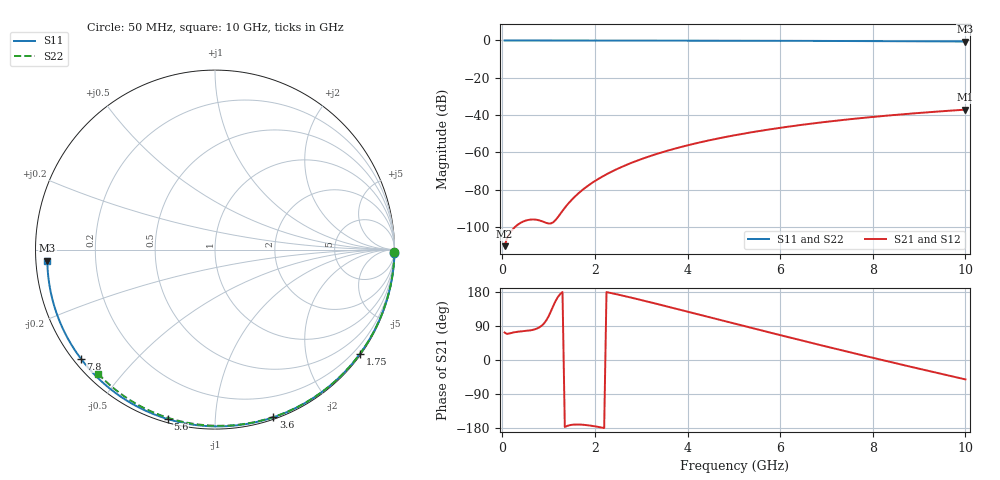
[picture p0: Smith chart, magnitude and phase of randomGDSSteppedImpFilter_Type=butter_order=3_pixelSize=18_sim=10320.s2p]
! freq	dB(S11)	phase(S11)	dB(S12)	phase(S12)
!  dB(S21)	phase(S21)	dB(S22)	phase(S22)
!S-par simulation data
#  GHz  S  DB  R 50
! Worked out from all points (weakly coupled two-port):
!   200 points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, 50 MHz to 10 GHz, reference 50 ohm
!   highest |S21| = -37.08 dB at 10 GHz (marker M1); lowest = -110.3 dB at 50 MHz (marker M2)
!   lowest |S11| = -0.6 dB at 10 GHz (marker M3), VSWR 30.44, Z = 1.64 - j1.64 ohm
!   |S11| at or under -10 dB: nowhere
!   |S22| runs from -0.4 to 0.0 dB; largest |S21 - S12| = 0
!   S11 on the Smith chart (normalised r, x): 50 MHz: open; 1.75 GHz: 0.03, -3.11; 3.6 GHz: 0.02, -1.41; 5.6 GHz: 0.02, -0.76; 7.8 GHz: 0.02, -0.36; 10 GHz: 0.03, -0.03
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0.05  -0.00 -1.0  -110.26 72.6  -110.26 72.6  -0.00 -0.8
0.45  -0.01 -9.3  -97.06 76.0  -97.06 76.0  -0.01 -6.9
0.85  -0.02 -17.5  -96.84 90.5  -96.84 90.5  -0.02 -13.0
1.25  -0.03 -25.6  -93.02 173.9  -93.02 173.9  -0.02 -19.1
1.7  -0.04 -34.6  -80.74 -170.5  -80.74 -170.5  -0.03 -25.8
1.75  -0.05 -35.6  -79.74 -171.0  -79.74 -171.0  -0.03 -26.6
2.05  -0.05 -41.5  -74.57 -176.1  -74.57 -176.1  -0.04 -31.0
2.25  -0.06 -45.4  -71.73 179.2  -71.73 179.2  -0.04 -34.0
2.45  -0.06 -49.3  -69.24 174.0  -69.24 174.0  -0.05 -36.9
2.9  -0.07 -57.9  -64.53 161.2  -64.53 161.2  -0.06 -43.5
3.4  -0.09 -67.2  -60.32 146.1  -60.32 146.1  -0.07 -50.6
3.6  -0.09 -70.9  -58.85 140.0  -58.85 140.0  -0.07 -53.4
4.3  -0.12 -83.4  -54.45 118.3  -54.45 118.3  -0.09 -63.1
5.05  -0.15 -96.3  -50.66 94.9  -50.66 94.9  -0.11 -73.2
5.6  -0.17 -105.6  -48.33 78.0  -48.33 78.0  -0.13 -80.4
6.15  -0.20 -114.6  -46.29 61.1  -46.29 61.1  -0.15 -87.4
6.7  -0.24 -123.4  -44.49 44.5  -44.49 44.5  -0.18 -94.3
7.25  -0.28 -132.2  -42.90 28.0  -42.90 28.0  -0.21 -101.0
7.8  -0.33 -140.9  -41.47 11.7  -41.47 11.7  -0.25 -107.6
8.35  -0.38 -149.5  -40.20 -4.3  -40.20 -4.3  -0.29 -114.1
9.2  -0.47 -163.1  -38.47 -28.7  -38.47 -28.7  -0.36 -124.0
10  -0.57 -176.2  -37.08 -51.1  -37.08 -51.1  -0.45 -133.2
